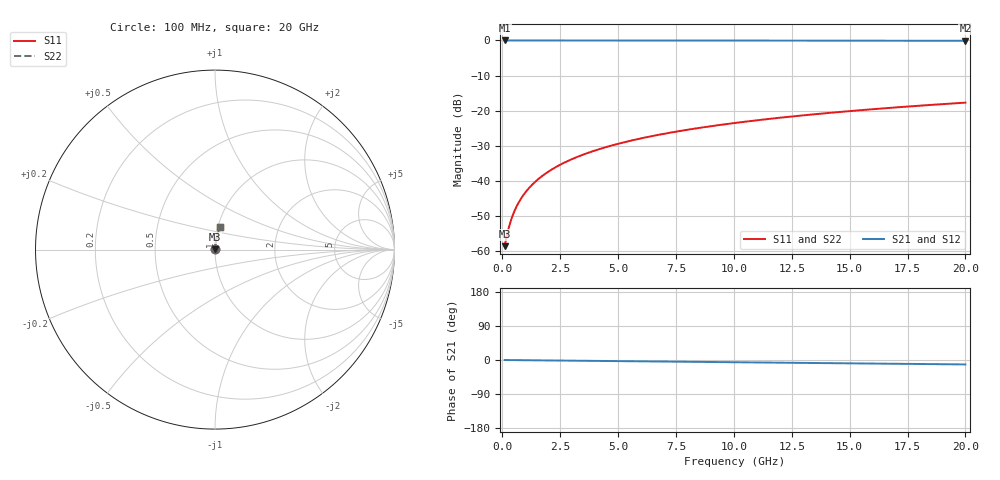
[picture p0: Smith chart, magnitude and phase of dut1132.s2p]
! Touchstone file exported from HFSS 2026.1.0
!  File:  C:/ffzhzh/LocalFiles/Ansys_Project_Files/temp_train_TSV_1132_1783191172_18472.aedt
!  Generated:  02:55:01 AM Jul  5, 2026
!  Design:  TSV
!  Project:  temp_train_TSV_1132_1783191172_18472
! Variables:
!  h_bsmrdl = 2um
!  h_ox = 20um
!  h_rdl = 5um
!  h_sub = 86.81um
!  h_tmrdl = 5um
!  h_tsv = 86.81um
!  h_via = 3um
!  l_bsmrdl = 300um
!  l_sub = 406.5um
!  l_tmrdl = 200um
!  m_sub = 200um
!  pitch = 48.64um
!  r_tsv = 3.25um
!  s_tmrdl = 10um
!  w_bsmrdl = 18um
!  w_sub = 500um
!  w_tmrdl = 12um
!  x_tsv_center1 = 206um
!  x_tsv_center2 = 524um
!  x_tsv_center3 = 736um
!  x_tsv_center4 = 1054um
!  x_tsv_center5 = 1266um
!  x_tsv_center6 = 1584um
# GHz S MA R 50.000000
! Terminal data exported
! Port[1] = TSV1_1_T1
! Port[2] = TSV1_1_T2
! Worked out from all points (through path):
!   200 points, 100 MHz to 20 GHz, reference 50 ohm
!   highest |S21| = -0.01 dB at 100 MHz (marker M1); lowest = -0.1 dB at 20 GHz (marker M2)
!   group delay of S21, straight-line fit = 1.62 ps
!   lowest |S11| = -58.5 dB at 100 MHz (marker M3), VSWR 1.00, Z = 50.1 + j0.0695 ohm
!   |S11| at or under -10 dB: start of sweep to end of sweep
!   |S22| runs from -58.5 to -17.7 dB; largest |S21 - S12| = 2.3e-15
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0.1  0.001186 35.8  0.999 -0.1  0.999 -0.1  0.001186 35.8
! Gamma 0 0 0 0
! Port Impedance 50 0 50 0
0.2  0.001691 54.9  0.999 -0.1  0.999 -0.1  0.001691 54.9
0.3  0.002292 64.6  0.999 -0.2  0.999 -0.2  0.002292 64.6
0.4  0.002929 70.1  0.999 -0.2  0.999 -0.2  0.002929 70.1
0.5  0.003581 73.6  0.999 -0.3  0.999 -0.3  0.003581 73.6
0.6  0.004242 76.0  0.999 -0.4  0.999 -0.4  0.004242 76.0
0.8  0.005577 79.0  0.999 -0.5  0.999 -0.5  0.005577 79.0
1.1  0.007598 81.5  0.9989 -0.7  0.9989 -0.7  0.007598 81.5
1.5  0.01031 83.2  0.9989 -0.9  0.9989 -0.9  0.01031 83.2
1.8  0.01234 83.8  0.9988 -1.1  0.9988 -1.1  0.01234 83.8
2.1  0.01437 84.3  0.9988 -1.3  0.9988 -1.3  0.01437 84.3
2.7  0.01843 84.7  0.9986 -1.6  0.9986 -1.6  0.01843 84.7
3.5  0.02383 84.8  0.9984 -2.1  0.9984 -2.1  0.02383 84.8
4.2  0.02853 84.6  0.9982 -2.5  0.9982 -2.5  0.02853 84.6
5  0.03387 84.4  0.9979 -3.0  0.9979 -3.0  0.03387 84.4
5.9  0.03985 84.0  0.9975 -3.5  0.9975 -3.5  0.03985 84.0
6.8  0.0458 83.6  0.9971 -4.0  0.9971 -4.0  0.0458 83.6
8.3  0.05564 82.9  0.9964 -4.9  0.9964 -4.9  0.05564 82.9
10.1  0.06736 82.0  0.9954 -6.0  0.9954 -6.0  0.06736 82.0
13.4  0.08864 80.3  0.9933 -7.9  0.9933 -7.9  0.08864 80.3
16.7  0.1097 78.6  0.9909 -9.8  0.9909 -9.8  0.1097 78.6
20  0.1304 76.8  0.9881 -11.7  0.9881 -11.7  0.1304 76.8
